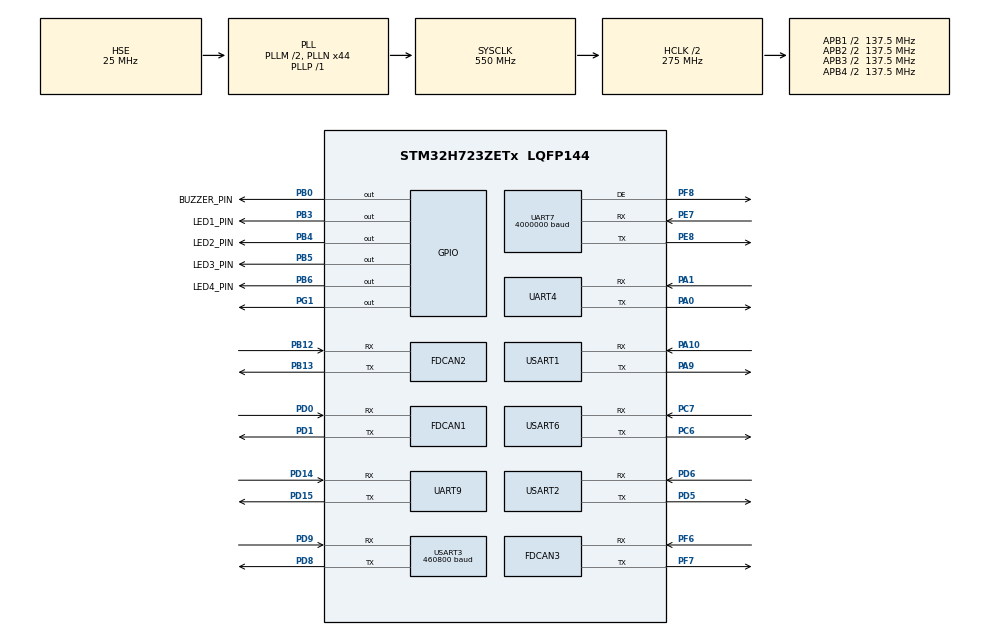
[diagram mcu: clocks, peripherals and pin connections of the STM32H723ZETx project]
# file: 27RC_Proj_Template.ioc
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CORTEX_M7.AccessPermission_S-Cortex_Memory_Protection_Unit_Region1_Settings_S=MPU_REGION_FULL_ACCESS
CORTEX_M7.AccessPermission_S-Cortex_Memory_Protection_Unit_Region2_Settings_S=MPU_REGION_FULL_ACCESS
CORTEX_M7.AccessPermission_Spec=MPU_REGION_FULL_ACCESS
CORTEX_M7.BaseAddress_S-Cortex_Memory_Protection_Unit_Region1_Settings_S=0x08000000
CORTEX_M7.BaseAddress_S-Cortex_Memory_Protection_Unit_Region2_Settings_S=0x30000000
CORTEX_M7.BaseAddress_Spec=0x24000000
CORTEX_M7.CPU_DCache=Enabled
CORTEX_M7.CPU_ICache=Enabled
CORTEX_M7.DisableExec_Spec=MPU_INSTRUCTION_ACCESS_ENABLE
CORTEX_M7.Enable_S-Cortex_Memory_Protection_Unit_Region1_Settings_S=MPU_REGION_ENABLE
CORTEX_M7.Enable_S-Cortex_Memory_Protection_Unit_Region2_Settings_S=MPU_REGION_ENABLE
CORTEX_M7.IsBufferable_Spec=MPU_ACCESS_BUFFERABLE
CORTEX_M7.IsCacheable_S-Cortex_Memory_Protection_Unit_Region1_Settings_S=MPU_ACCESS_CACHEABLE
CORTEX_M7.IsCacheable_S-Cortex_Memory_Protection_Unit_Region2_Settings_S=MPU_ACCESS_CACHEABLE
CORTEX_M7.IsCacheable_Spec=MPU_ACCESS_CACHEABLE
CORTEX_M7.IsShareable_Spec=MPU_ACCESS_NOT_SHAREABLE
CORTEX_M7.Size_S-Cortex_Memory_Protection_Unit_Region1_Settings_S=MPU_REGION_SIZE_512KB
CORTEX_M7.Size_S-Cortex_Memory_Protection_Unit_Region2_Settings_S=MPU_REGION_SIZE_512MB
CORTEX_M7.Size_Spec=MPU_REGION_SIZE_128KB
CORTEX_M7.SubRegionDisable_S-Cortex_Memory_Protection_Unit_Region2_Settings_S=0xFA
CORTEX_M7.SubRegionDisable_Spec=0
CORTEX_M7.TypeExtField_Spec=MPU_TEX_LEVEL1
CORTEX_M7.default_mode_Activation=1
Dma.Request0=UART4_RX
Dma.Request1=UART4_TX
Dma.Request10=USART6_RX
Dma.Request11=USART6_TX
Dma.Request2=UART7_RX
Dma.Request3=UART7_TX
Dma.Request4=UART9_RX
Dma.Request5=UART9_TX
Dma.Request6=USART1_RX
Dma.Request7=USART1_TX
Dma.Request8=USART3_RX
Dma.Request9=USART3_TX
Dma.UART4_RX.0.Direction=DMA_PERIPH_TO_MEMORY
Dma.UART4_RX.0.EventEnable=DISABLE
Dma.UART4_RX.0.FIFOMode=DMA_FIFOMODE_DISABLE
Dma.UART4_RX.0.Instance=DMA1_Stream0
Dma.UART4_RX.0.MemDataAlignment=DMA_MDATAALIGN_BYTE
Dma.UART4_RX.0.MemInc=DMA_MINC_ENABLE
Dma.UART4_RX.0.Mode=DMA_NORMAL
Dma.UART4_RX.0.PeriphDataAlignment=DMA_PDATAALIGN_BYTE
Dma.UART4_RX.0.PeriphInc=DMA_PINC_DISABLE
Dma.UART4_RX.0.Polarity=HAL_DMAMUX_REQ_GEN_RISING
Dma.UART4_RX.0.Priority=DMA_PRIORITY_LOW
Dma.UART4_RX.0.RequestNumber=1
Dma.UART4_RX.0.SignalID=NONE
Dma.UART4_RX.0.SyncEnable=DISABLE
Dma.UART4_RX.0.SyncPolarity=HAL_DMAMUX_SYNC_NO_EVENT
Dma.UART4_RX.0.SyncRequestNumber=1
Dma.UART4_RX.0.SyncSignalID=NONE
Dma.UART4_TX.1.Direction=DMA_MEMORY_TO_PERIPH
Dma.UART4_TX.1.EventEnable=DISABLE
Dma.UART4_TX.1.FIFOMode=DMA_FIFOMODE_DISABLE
Dma.UART4_TX.1.Instance=DMA1_Stream1
Dma.UART4_TX.1.MemDataAlignment=DMA_MDATAALIGN_BYTE
Dma.UART4_TX.1.MemInc=DMA_MINC_ENABLE
Dma.UART4_TX.1.Mode=DMA_NORMAL
Dma.UART4_TX.1.PeriphDataAlignment=DMA_PDATAALIGN_BYTE
Dma.UART4_TX.1.PeriphInc=DMA_PINC_DISABLE
Dma.UART4_TX.1.Polarity=HAL_DMAMUX_REQ_GEN_RISING
Dma.UART4_TX.1.Priority=DMA_PRIORITY_LOW
Dma.UART4_TX.1.RequestNumber=1
Dma.UART4_TX.1.SignalID=NONE
Dma.UART4_TX.1.SyncEnable=DISABLE
Dma.UART4_TX.1.SyncPolarity=HAL_DMAMUX_SYNC_NO_EVENT
Dma.UART4_TX.1.SyncRequestNumber=1
Dma.UART4_TX.1.SyncSignalID=NONE
Dma.UART7_RX.2.Direction=DMA_PERIPH_TO_MEMORY
Dma.UART7_RX.2.EventEnable=DISABLE
Dma.UART7_RX.2.FIFOMode=DMA_FIFOMODE_ENABLE
Dma.UART7_RX.2.FIFOThreshold=DMA_FIFO_THRESHOLD_FULL
Dma.UART7_RX.2.Instance=DMA1_Stream2
Dma.UART7_RX.2.MemBurst=DMA_MBURST_SINGLE
Dma.UART7_RX.2.MemDataAlignment=DMA_MDATAALIGN_BYTE
Dma.UART7_RX.2.MemInc=DMA_MINC_ENABLE
Dma.UART7_RX.2.Mode=DMA_CIRCULAR
Dma.UART7_RX.2.PeriphBurst=DMA_PBURST_SINGLE
Dma.UART7_RX.2.PeriphDataAlignment=DMA_PDATAALIGN_BYTE
Dma.UART7_RX.2.PeriphInc=DMA_PINC_DISABLE
Dma.UART7_RX.2.Polarity=HAL_DMAMUX_REQ_GEN_RISING
Dma.UART7_RX.2.Priority=DMA_PRIORITY_VERY_HIGH
Dma.UART7_RX.2.RequestNumber=1
Dma.UART7_RX.2.SignalID=NONE
Dma.UART7_RX.2.SyncEnable=DISABLE
Dma.UART7_RX.2.SyncPolarity=HAL_DMAMUX_SYNC_NO_EVENT
Dma.UART7_RX.2.SyncRequestNumber=1
Dma.UART7_RX.2.SyncSignalID=NONE
Dma.UART7_TX.3.Direction=DMA_MEMORY_TO_PERIPH
Dma.UART7_TX.3.EventEnable=DISABLE
Dma.UART7_TX.3.FIFOMode=DMA_FIFOMODE_ENABLE
Dma.UART7_TX.3.FIFOThreshold=DMA_FIFO_THRESHOLD_FULL
Dma.UART7_TX.3.Instance=DMA1_Stream3
Dma.UART7_TX.3.MemBurst=DMA_MBURST_SINGLE
Dma.UART7_TX.3.MemDataAlignment=DMA_MDATAALIGN_BYTE
Dma.UART7_TX.3.MemInc=DMA_MINC_ENABLE
Dma.UART7_TX.3.Mode=DMA_NORMAL
Dma.UART7_TX.3.PeriphBurst=DMA_PBURST_SINGLE
Dma.UART7_TX.3.PeriphDataAlignment=DMA_PDATAALIGN_BYTE
Dma.UART7_TX.3.PeriphInc=DMA_PINC_DISABLE
Dma.UART7_TX.3.Polarity=HAL_DMAMUX_REQ_GEN_RISING
Dma.UART7_TX.3.Priority=DMA_PRIORITY_VERY_HIGH
Dma.UART7_TX.3.RequestNumber=1
Dma.UART7_TX.3.SignalID=NONE
Dma.UART7_TX.3.SyncEnable=DISABLE
Dma.UART7_TX.3.SyncPolarity=HAL_DMAMUX_SYNC_NO_EVENT
Dma.UART7_TX.3.SyncRequestNumber=1
Dma.UART7_TX.3.SyncSignalID=NONE
Dma.UART9_RX.4.Direction=DMA_PERIPH_TO_MEMORY
Dma.UART9_RX.4.EventEnable=DISABLE
Dma.UART9_RX.4.FIFOMode=DMA_FIFOMODE_DISABLE
Dma.UART9_RX.4.Instance=DMA1_Stream4
Dma.UART9_RX.4.MemDataAlignment=DMA_MDATAALIGN_BYTE
Dma.UART9_RX.4.MemInc=DMA_MINC_ENABLE
Dma.UART9_RX.4.Mode=DMA_NORMAL
Dma.UART9_RX.4.PeriphDataAlignment=DMA_PDATAALIGN_BYTE
Dma.UART9_RX.4.PeriphInc=DMA_PINC_DISABLE
Dma.UART9_RX.4.Polarity=HAL_DMAMUX_REQ_GEN_RISING
Dma.UART9_RX.4.Priority=DMA_PRIORITY_LOW
Dma.UART9_RX.4.RequestNumber=1
Dma.UART9_RX.4.SignalID=NONE
Dma.UART9_RX.4.SyncEnable=DISABLE
Dma.UART9_RX.4.SyncPolarity=HAL_DMAMUX_SYNC_NO_EVENT
Dma.UART9_RX.4.SyncRequestNumber=1
Dma.UART9_RX.4.SyncSignalID=NONE
Dma.UART9_TX.5.Direction=DMA_MEMORY_TO_PERIPH
Dma.UART9_TX.5.EventEnable=DISABLE
Dma.UART9_TX.5.FIFOMode=DMA_FIFOMODE_DISABLE
Dma.UART9_TX.5.Instance=DMA1_Stream5
Dma.UART9_TX.5.MemDataAlignment=DMA_MDATAALIGN_BYTE
Dma.UART9_TX.5.MemInc=DMA_MINC_ENABLE
Dma.UART9_TX.5.Mode=DMA_NORMAL
Dma.UART9_TX.5.PeriphDataAlignment=DMA_PDATAALIGN_BYTE
Dma.UART9_TX.5.PeriphInc=DMA_PINC_DISABLE
Dma.UART9_TX.5.Polarity=HAL_DMAMUX_REQ_GEN_RISING
Dma.UART9_TX.5.Priority=DMA_PRIORITY_LOW
Dma.UART9_TX.5.RequestNumber=1
Dma.UART9_TX.5.SignalID=NONE
Dma.UART9_TX.5.SyncEnable=DISABLE
Dma.UART9_TX.5.SyncPolarity=HAL_DMAMUX_SYNC_NO_EVENT
Dma.UART9_TX.5.SyncRequestNumber=1
Dma.UART9_TX.5.SyncSignalID=NONE
Dma.USART1_RX.6.Direction=DMA_PERIPH_TO_MEMORY
Dma.USART1_RX.6.EventEnable=DISABLE
Dma.USART1_RX.6.FIFOMode=DMA_FIFOMODE_DISABLE
Dma.USART1_RX.6.Instance=DMA1_Stream6
Dma.USART1_RX.6.MemDataAlignment=DMA_MDATAALIGN_BYTE
Dma.USART1_RX.6.MemInc=DMA_MINC_ENABLE
Dma.USART1_RX.6.Mode=DMA_NORMAL
Dma.USART1_RX.6.PeriphDataAlignment=DMA_PDATAALIGN_BYTE
Dma.USART1_RX.6.PeriphInc=DMA_PINC_DISABLE
Dma.USART1_RX.6.Polarity=HAL_DMAMUX_REQ_GEN_RISING
Dma.USART1_RX.6.Priority=DMA_PRIORITY_LOW
Dma.USART1_RX.6.RequestNumber=1
Dma.USART1_RX.6.SignalID=NONE
Dma.USART1_RX.6.SyncEnable=DISABLE
Dma.USART1_RX.6.SyncPolarity=HAL_DMAMUX_SYNC_NO_EVENT
Dma.USART1_RX.6.SyncRequestNumber=1
Dma.USART1_RX.6.SyncSignalID=NONE
Dma.USART1_TX.7.Direction=DMA_MEMORY_TO_PERIPH
Dma.USART1_TX.7.EventEnable=DISABLE
Dma.USART1_TX.7.FIFOMode=DMA_FIFOMODE_DISABLE
Dma.USART1_TX.7.Instance=DMA1_Stream7
Dma.USART1_TX.7.MemDataAlignment=DMA_MDATAALIGN_BYTE
Dma.USART1_TX.7.MemInc=DMA_MINC_ENABLE
Dma.USART1_TX.7.Mode=DMA_NORMAL
Dma.USART1_TX.7.PeriphDataAlignment=DMA_PDATAALIGN_BYTE
Dma.USART1_TX.7.PeriphInc=DMA_PINC_DISABLE
Dma.USART1_TX.7.Polarity=HAL_DMAMUX_REQ_GEN_RISING
Dma.USART1_TX.7.Priority=DMA_PRIORITY_LOW
Dma.USART1_TX.7.RequestNumber=1
Dma.USART1_TX.7.SignalID=NONE
Dma.USART1_TX.7.SyncEnable=DISABLE
Dma.USART1_TX.7.SyncPolarity=HAL_DMAMUX_SYNC_NO_EVENT
Dma.USART1_TX.7.SyncRequestNumber=1
Dma.USART1_TX.7.SyncSignalID=NONE
Dma.USART3_RX.8.Direction=DMA_PERIPH_TO_MEMORY
Dma.USART3_RX.8.EventEnable=DISABLE
Dma.USART3_RX.8.FIFOMode=DMA_FIFOMODE_DISABLE
Dma.USART3_RX.8.Instance=DMA2_Stream0
Dma.USART3_RX.8.MemDataAlignment=DMA_MDATAALIGN_BYTE
Dma.USART3_RX.8.MemInc=DMA_MINC_ENABLE
Dma.USART3_RX.8.Mode=DMA_NORMAL
Dma.USART3_RX.8.PeriphDataAlignment=DMA_PDATAALIGN_BYTE
Dma.USART3_RX.8.PeriphInc=DMA_PINC_DISABLE
Dma.USART3_RX.8.Polarity=HAL_DMAMUX_REQ_GEN_RISING
Dma.USART3_RX.8.Priority=DMA_PRIORITY_LOW
Dma.USART3_RX.8.RequestNumber=1
Dma.USART3_RX.8.SignalID=NONE
Dma.USART3_RX.8.SyncEnable=DISABLE
Dma.USART3_RX.8.SyncPolarity=HAL_DMAMUX_SYNC_NO_EVENT
Dma.USART3_RX.8.SyncRequestNumber=1
Dma.USART3_RX.8.SyncSignalID=NONE
Dma.USART3_TX.9.Direction=DMA_MEMORY_TO_PERIPH
Dma.USART3_TX.9.EventEnable=DISABLE
Dma.USART3_TX.9.FIFOMode=DMA_FIFOMODE_DISABLE
Dma.USART3_TX.9.Instance=DMA2_Stream1
Dma.USART3_TX.9.MemDataAlignment=DMA_MDATAALIGN_BYTE
Dma.USART3_TX.9.MemInc=DMA_MINC_ENABLE
Dma.USART3_TX.9.Mode=DMA_NORMAL
Dma.USART3_TX.9.PeriphDataAlignment=DMA_PDATAALIGN_BYTE
Dma.USART3_TX.9.PeriphInc=DMA_PINC_DISABLE
Dma.USART3_TX.9.Polarity=HAL_DMAMUX_REQ_GEN_RISING
Dma.USART3_TX.9.Priority=DMA_PRIORITY_LOW
Dma.USART3_TX.9.RequestNumber=1
Dma.USART3_TX.9.SignalID=NONE
Dma.USART3_TX.9.SyncEnable=DISABLE
Dma.USART3_TX.9.SyncPolarity=HAL_DMAMUX_SYNC_NO_EVENT
Dma.USART3_TX.9.SyncRequestNumber=1
Dma.USART3_TX.9.SyncSignalID=NONE
Dma.USART6_RX.10.Direction=DMA_PERIPH_TO_MEMORY
Dma.USART6_RX.10.EventEnable=DISABLE
Dma.USART6_RX.10.FIFOMode=DMA_FIFOMODE_DISABLE
Dma.USART6_RX.10.Instance=DMA2_Stream2
Dma.USART6_RX.10.MemDataAlignment=DMA_MDATAALIGN_BYTE
Dma.USART6_RX.10.MemInc=DMA_MINC_ENABLE
Dma.USART6_RX.10.Mode=DMA_NORMAL
Dma.USART6_RX.10.PeriphDataAlignment=DMA_PDATAALIGN_BYTE
Dma.USART6_RX.10.PeriphInc=DMA_PINC_DISABLE
Dma.USART6_RX.10.Polarity=HAL_DMAMUX_REQ_GEN_RISING
Dma.USART6_RX.10.Priority=DMA_PRIORITY_LOW
Dma.USART6_RX.10.RequestNumber=1
Dma.USART6_RX.10.SignalID=NONE
Dma.USART6_RX.10.SyncEnable=DISABLE
Dma.USART6_RX.10.SyncPolarity=HAL_DMAMUX_SYNC_NO_EVENT
Dma.USART6_RX.10.SyncRequestNumber=1
Dma.USART6_RX.10.SyncSignalID=NONE
Dma.USART6_TX.11.Direction=DMA_MEMORY_TO_PERIPH
Dma.USART6_TX.11.EventEnable=DISABLE
Dma.USART6_TX.11.FIFOMode=DMA_FIFOMODE_DISABLE
Dma.USART6_TX.11.Instance=DMA2_Stream3
Dma.USART6_TX.11.MemDataAlignment=DMA_MDATAALIGN_BYTE
Dma.USART6_TX.11.MemInc=DMA_MINC_ENABLE
Dma.USART6_TX.11.Mode=DMA_NORMAL
Dma.USART6_TX.11.PeriphDataAlignment=DMA_PDATAALIGN_BYTE
Dma.USART6_TX.11.PeriphInc=DMA_PINC_DISABLE
Dma.USART6_TX.11.Polarity=HAL_DMAMUX_REQ_GEN_RISING
Dma.USART6_TX.11.Priority=DMA_PRIORITY_LOW
Dma.USART6_TX.11.RequestNumber=1
Dma.USART6_TX.11.SignalID=NONE
Dma.USART6_TX.11.SyncEnable=DISABLE
Dma.USART6_TX.11.SyncPolarity=HAL_DMAMUX_SYNC_NO_EVENT
Dma.USART6_TX.11.SyncRequestNumber=1
Dma.USART6_TX.11.SyncSignalID=NONE
FDCAN1.AutoRetransmission=DISABLE
FDCAN1.CalculateBaudRateNominal=1000000
FDCAN1.CalculateTimeBitNominal=1000
FDCAN1.CalculateTimeQuantumNominal=25.0
FDCAN1.DataSyncJumpWidth=5
FDCAN1.DataTimeSeg1=29
FDCAN1.DataTimeSeg2=10
FDCAN1.ExtFiltersNbr=16
FDCAN1.NominalPrescaler=1
FDCAN1.NominalSyncJumpWidth=5
FDCAN1.NominalTimeSeg1=29
FDCAN1.NominalTimeSeg2=10
FDCAN1.RxFifo0ElmtsNbr=20
FDCAN1.RxFifo1ElmtsNbr=20
FDCAN1.StdFiltersNbr=16
FDCAN1.TxBuffersNbr=0
FDCAN1.TxFifoQueueElmtsNbr=16
FDCAN2.CalculateBaudRateNominal=1000000
FDCAN2.CalculateTimeBitNominal=1000
FDCAN2.CalculateTimeQuantumNominal=25.0
FDCAN2.DataSyncJumpWidth=5
FDCAN2.DataTimeSeg1=29
FDCAN2.DataTimeSeg2=10
FDCAN2.ExtFiltersNbr=16
FDCAN2.MessageRAMOffset=850
FDCAN2.NominalPrescaler=1
FDCAN2.NominalSyncJumpWidth=5
FDCAN2.NominalTimeSeg1=29
FDCAN2.NominalTimeSeg2=10
FDCAN2.RxFifo0ElmtsNbr=20
FDCAN2.RxFifo1ElmtsNbr=20
FDCAN2.StdFiltersNbr=16
FDCAN2.TxBuffersNbr=0
FDCAN2.TxFifoQueueElmtsNbr=16
FDCAN3.CalculateBaudRateNominal=1000000
FDCAN3.CalculateTimeBitNominal=1000
FDCAN3.CalculateTimeQuantumNominal=25.0
FDCAN3.DataSyncJumpWidth=5
FDCAN3.DataTimeSeg1=29
FDCAN3.DataTimeSeg2=10
FDCAN3.ExtFiltersNbr=16
FDCAN3.MessageRAMOffset=1700
FDCAN3.NominalPrescaler=1
FDCAN3.NominalSyncJumpWidth=5
FDCAN3.NominalTimeSeg1=29
FDCAN3.NominalTimeSeg2=10
FDCAN3.RxFifo0ElmtsNbr=20
FDCAN3.RxFifo1ElmtsNbr=20
FDCAN3.StdFiltersNbr=16
FDCAN3.TxBuffersNbr=0
FDCAN3.TxFifoQueueElmtsNbr=20
FREERTOS.Tasks01=AlarmTask,16,64,Alarm_Task,As weak,NULL,Dynamic,NULL,NULL;VOFASendTask,24,64,VOFA_SendTask,As weak,NULL,Dynamic,NULL,NULL
FREERTOS.configMINIMAL_STACK_SIZE=64
FREERTOS.configTIMER_TASK_STACK_DEPTH=256
Mcu.Family=STM32H7
Mcu.Name=STM32H723ZETx
Mcu.Package=LQFP144
NVIC.DMA1_Stream0_IRQn=true\:5\:0\:false\:false\:true\:true\:false\:true\:true
NVIC.DMA1_Stream1_IRQn=true\:5\:0\:false\:false\:true\:true\:false\:true\:true
NVIC.DMA1_Stream2_IRQn=true\:5\:0\:false\:false\:true\:true\:false\:true\:true
NVIC.DMA1_Stream3_IRQn=true\:5\:0\:false\:false\:true\:true\:false\:true\:true
NVIC.DMA1_Stream4_IRQn=true\:5\:0\:false\:false\:true\:true\:false\:true\:true
NVIC.DMA1_Stream5_IRQn=true\:5\:0\:false\:false\:true\:true\:false\:true\:true
NVIC.DMA1_Stream6_IRQn=true\:5\:0\:false\:false\:true\:true\:false\:true\:true
NVIC.DMA1_Stream7_IRQn=true\:5\:0\:false\:false\:true\:true\:false\:true\:true
NVIC.DMA2_Stream0_IRQn=true\:5\:0\:false\:false\:true\:true\:false\:true\:true
NVIC.DMA2_Stream1_IRQn=true\:5\:0\:false\:false\:true\:true\:false\:true\:true
NVIC.DMA2_Stream2_IRQn=true\:5\:0\:false\:false\:true\:true\:false\:true\:true
NVIC.DMA2_Stream3_IRQn=true\:5\:0\:false\:false\:true\:true\:false\:true\:true
NVIC.FDCAN1_IT0_IRQn=true\:5\:0\:false\:false\:true\:true\:true\:true\:true
NVIC.FDCAN1_IT1_IRQn=true\:5\:0\:false\:false\:true\:true\:true\:true\:true
NVIC.FDCAN2_IT0_IRQn=true\:5\:0\:false\:false\:true\:true\:true\:true\:true
NVIC.FDCAN2_IT1_IRQn=true\:5\:0\:false\:false\:true\:true\:true\:true\:true
NVIC.FDCAN3_IT0_IRQn=true\:5\:0\:false\:false\:true\:true\:true\:true\:true
NVIC.FDCAN3_IT1_IRQn=true\:5\:0\:false\:false\:true\:true\:true\:true\:true
NVIC.PriorityGroup=NVIC_PRIORITYGROUP_4
NVIC.TIM1_UP_IRQn=true\:15\:0\:false\:false\:true\:false\:false\:true\:true
NVIC.TIM2_IRQn=true\:5\:0\:false\:false\:true\:true\:true\:true\:true
NVIC.TIM3_IRQn=true\:5\:0\:false\:false\:true\:true\:true\:true\:true
NVIC.TIM4_IRQn=true\:5\:0\:false\:false\:true\:true\:true\:true\:true
NVIC.TimeBase=TIM1_UP_IRQn
NVIC.TimeBaseIP=TIM1
NVIC.UART4_IRQn=true\:5\:0\:false\:false\:true\:true\:true\:true\:true
NVIC.UART7_IRQn=true\:5\:0\:false\:false\:true\:true\:true\:true\:true
NVIC.UART9_IRQn=true\:5\:0\:false\:false\:true\:true\:true\:true\:true
NVIC.USART1_IRQn=true\:5\:0\:false\:false\:true\:true\:true\:true\:true
NVIC.USART2_IRQn=true\:5\:0\:false\:false\:true\:true\:true\:true\:true
NVIC.USART3_IRQn=true\:5\:0\:false\:false\:true\:true\:true\:true\:true
NVIC.USART6_IRQn=true\:5\:0\:false\:false\:true\:true\:true\:true\:true
PA0.Mode=Asynchronous
PA0.Signal=UART4_TX
PA1.Mode=Asynchronous
PA1.Signal=UART4_RX
PA10.Mode=Asynchronous
PA10.Signal=USART1_RX
PA13(JTMS/SWDIO).Mode=Serial_Wire
PA13(JTMS/SWDIO).Signal=DEBUG_JTMS-SWDIO
PA14(JTCK/SWCLK).Mode=Serial_Wire
PA14(JTCK/SWCLK).Signal=DEBUG_JTCK-SWCLK
PA9.Mode=Asynchronous
PA9.Signal=USART1_TX
PB0.GPIO_Label=BUZZER_PIN
PB0.Signal=GPIO_Output
PB12.GPIO_PuPd=GPIO_NOPULL
PB12.Mode=FDCAN_Activate
PB12.Signal=FDCAN2_RX
PB13.GPIO_PuPd=GPIO_NOPULL
PB13.Mode=FDCAN_Activate
PB13.Signal=FDCAN2_TX
PB3(JTDO/TRACESWO).GPIO_Label=LED1_PIN
PB3(JTDO/TRACESWO).Signal=GPIO_Output
PB4(NJTRST).GPIO_Label=LED2_PIN
PB4(NJTRST).Signal=GPIO_Output
PB5.GPIO_Label=LED3_PIN
PB5.Signal=GPIO_Output
PB6.GPIO_Label=LED4_PIN
PB6.Signal=GPIO_Output
PC6.Mode=Asynchronous
PC6.Signal=USART6_TX
PC7.Mode=Asynchronous
PC7.Signal=USART6_RX
PD0.GPIO_PuPd=GPIO_NOPULL
PD0.Mode=FDCAN_Activate
PD0.Signal=FDCAN1_RX
PD1.GPIO_PuPd=GPIO_NOPULL
PD1.Mode=FDCAN_Activate
PD1.Signal=FDCAN1_TX
PD14.Mode=Asynchronous
PD14.Signal=UART9_RX
PD15.Mode=Asynchronous
PD15.Signal=UART9_TX
PD5.Mode=Asynchronous
PD5.Signal=USART2_TX
PD6.Mode=Asynchronous
PD6.Signal=USART2_RX
PD8.Mode=Asynchronous
PD8.Signal=USART3_TX
PD9.Mode=Asynchronous
PD9.Signal=USART3_RX
PE7.GPIO_Speed=GPIO_SPEED_FREQ_VERY_HIGH
PE7.Mode=Asynchronous
PE7.Signal=UART7_RX
PE8.GPIO_Speed=GPIO_SPEED_FREQ_VERY_HIGH
PE8.Mode=Asynchronous
PE8.Signal=UART7_TX
PF6.GPIO_PuPd=GPIO_NOPULL
PF6.Mode=FDCAN_Activate
PF6.Signal=FDCAN3_RX
PF7.GPIO_PuPd=GPIO_NOPULL
PF7.Mode=FDCAN_Activate
PF7.Signal=FDCAN3_TX
PF8.Mode=Hardware Flow Control (RS485)
PF8.Signal=UART7_DE
PG1.Signal=GPIO_Output
PH0-OSC_IN.Mode=HSE-External-Oscillator
PH0-OSC_IN.Signal=RCC_OSC_IN
PH1-OSC_OUT.Mode=HSE-External-Oscillator
PH1-OSC_OUT.Signal=RCC_OSC_OUT
ProjectManager.HeapSize=0x200
ProjectManager.StackSize=0x400
ProjectManager.TargetToolchain=MDK-ARM V5.32
RCC.ADCFreq_Value=100000000
RCC.APB1Freq_Value=137500000
RCC.APB2Freq_Value=137500000
RCC.APB3Freq_Value=137500000
RCC.APB4Freq_Value=137500000
RCC.CortexFreq_Value=550000000
RCC.D1PPRE=RCC_APB3_DIV2
RCC.D2PPRE1=RCC_APB1_DIV2
RCC.D2PPRE2=RCC_APB2_DIV2
RCC.D3PPRE=RCC_APB4_DIV2
RCC.DIVM1=2
RCC.DIVM2=2
RCC.DIVM3=2
RCC.DIVN1=44
RCC.DIVN2=16
RCC.DIVN3=16
RCC.DIVP1=1
RCC.DIVQ1=4
RCC.DIVQ2=5
RCC.FDCANCLockSelection=RCC_FDCANCLKSOURCE_PLL2
RCC.HCLKFreq_Value=275000000
RCC.HPRE=RCC_HCLK_DIV2
RCC.PLL2FRACN=0
RCC.PLL3FRACN=0
RCC.PLLFRACN=0
RCC.PLLSourceVirtual=RCC_PLLSOURCE_HSE
RCC.SYSCLKFreq_VALUE=550000000
RCC.SYSCLKSource=RCC_SYSCLKSOURCE_PLLCLK
RCC.USBFreq_Value=137500000
STMicroelectronics.X-CUBE-ALGOBUILD.1.5.0.LibraryCcDSPOoLibraryJjDSPOoLibrary=true
TIM2.Period=999
TIM2.Prescaler=274
TIM3.Prescaler=274
TIM4.Period=999
TIM4.Prescaler=274
TIM5.Period=999
TIM5.Prescaler=274
UART7.BaudRate=4000000
USART1.VirtualMode-Asynchronous=VM_ASYNC
USART2.VirtualMode-Asynchronous=VM_ASYNC
USART3.BaudRate=460800
USART3.VirtualMode-Asynchronous=VM_ASYNC
USART6.VirtualMode-Asynchronous=VM_ASYNC
VP_FREERTOS_VS_CMSIS_V2.Mode=CMSIS_V2
VP_MEMORYMAP_VS_MEMORYMAP.Mode=CurAppReg
VP_STMicroelectronics.X-CUBE-ALGOBUILD_VS_DSPOoLibraryJjLibrary_1.5.0_1.5.0.Mode=DSPOoLibraryJjLibrary
VP_SYS_VS_tim1.Mode=TIM1
VP_TIM2_VS_ClockSourceINT.Mode=Internal
VP_TIM3_VS_ClockSourceINT.Mode=Internal
VP_TIM4_VS_ClockSourceINT.Mode=Internal
VP_TIM5_VS_ClockSourceINT.Mode=Internal
board=custom

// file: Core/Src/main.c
/* USER CODE BEGIN Header */
/**
  ******************************************************************************
  * @file           : main.c
  * @brief          : Main program body
  ******************************************************************************
  * @attention
  *
  * Copyright (c) 2026 STMicroelectronics.
  * All rights reserved.
  *
  * This software is licensed under terms that can be found in the LICENSE file
  * in the root directory of this software component.
  * If no LICENSE file comes with this software, it is provided AS-IS.
  *
  ******************************************************************************
  */
/* USER CODE END Header */
#include "main.h"
#include "FreeRTOS.h"
#include "cmsis_os2.h"
#include "dma.h"
#include "fdcan.h"
#include "tim.h"
#include "usart.h"
#include "gpio.h"

/* USER CODE BEGIN Includes */
#include "includes.h"
#include "IQRhandler.h"
#include "motor_config.h"
#include "FD_Canqueue.h"
#include "ZDrive.h"
#include "DJmotor.h"
#include "VescMotor.h"
#include "UnitreeMotor.h"
#include "bsp_board.h"
#include "bsp_buzzer.h"
#include "bsp_solenoid.h"
#include "app_config.h"
#include "bluetooth.h"
#include "imu.h"

/* USER CODE END Includes */

void SystemClock_Config(void);
void PeriphCommonClock_Config(void);
static void MPU_Config(void);
void MX_FREERTOS_Init(void);

int main(void)
{

  /* USER CODE BEGIN 1 */
	uint32_t *SourceAddr = (uint32_t *)FLASH_BANK1_BASE;
	uint32_t *DestAddr = (uint32_t *)D1_DTCMRAM_BASE;
	memcpy(DestAddr, SourceAddr, 0x400);
	SCB->VTOR = D1_DTCMRAM_BASE; //向量表重定向
  /* USER CODE END 1 */

  /* MPU Configuration--------------------------------------------------------*/
  MPU_Config();

  /* Enable the CPU Cache */

  /* Enable I-Cache---------------------------------------------------------*/
  SCB_EnableICache();

  /* Enable D-Cache---------------------------------------------------------*/
  SCB_EnableDCache();

  /* MCU Configuration--------------------------------------------------------*/

  /* Reset of all peripherals, Initializes the Flash interface and the Systick. */
  HAL_Init();

  /* Configure the system clock */
  SystemClock_Config();

  /* Configure the peripherals common clocks */
  PeriphCommonClock_Config();

  /* Initialize all configured peripherals */
  MX_GPIO_Init();
  MX_DMA_Init();
  MX_FDCAN1_Init();
  MX_FDCAN2_Init();
  MX_FDCAN3_Init();
  MX_UART4_Init();
  MX_UART7_Init();
  MX_UART9_Init();
  MX_USART1_UART_Init();
  MX_USART2_UART_Init();
  MX_USART3_UART_Init();
  MX_USART6_UART_Init();
  MX_TIM2_Init();
  MX_TIM3_Init();
  MX_TIM4_Init();
  MX_TIM5_Init();
  /* USER CODE BEGIN 2 */
  Bsp_BoardInit();
#if APP_START_BUZZER_ON_BOOT
  BspBuzzer_StartupBeep();
#endif
  CAN_InitSendQueue();
  CAN_Start();
#if USE_DJ
  DJmotor_Init();
#endif
#if USE_VESC
  VescInit();
#endif
#if USE_ZMDR
  ZdriveInit();
#endif
#if USE_UNITREE
  UnitreeMotor_Init();
#endif
  /* 蓝牙模块:建队列、建收发任务(必须在启动串口 DMA 接收之前) */
  Bluetooth_Init();

  /* IMU 模块:建接收任务/队列(必须先于 USART3 DMA 接收启动) */
  Imu_Init();

  /* 各串口空闲 DMA 接收启动(USART2 未配 DMA,需要的话在 CubeMX 里加) */
  // HAL_UARTEx_ReceiveToIdle_DMA(&huart1, UART1_RxBuffer, UART_RX_BUFFER_SIZE);
  SolenoidValve_Init(Solenoid_Bus1);
  HAL_UARTEx_ReceiveToIdle_DMA(&huart3, UART3_RxBuffer, UART_RX_BUFFER_SIZE);
  HAL_UARTEx_ReceiveToIdle_DMA(&huart4, UART4_RxBuffer, UART_RX_BUFFER_SIZE);
  HAL_UARTEx_ReceiveToIdle_DMA(&huart6, UART6_RxBuffer, UART_RX_BUFFER_SIZE);
  HAL_UARTEx_ReceiveToIdle_DMA(&huart9, UART9_RxBuffer, UART_RX_BUFFER_SIZE);
  /* USER CODE END 2 */

  /* Init scheduler */
  osKernelInitialize();  /* Call init function for freertos objects (in cmsis_os2.c) */
  MX_FREERTOS_Init();

  /* Start scheduler */
  osKernelStart();

  /* We should never get here as control is now taken by the scheduler */

  /* Infinite loop */
  while (1)
  {

  }
}

void SystemClock_Config(void)
{
  RCC_OscInitTypeDef RCC_OscInitStruct = {0};
  RCC_ClkInitTypeDef RCC_ClkInitStruct = {0};

  /** Supply configuration update enable
  */
  HAL_PWREx_ConfigSupply(PWR_LDO_SUPPLY);

  /** Configure the main internal regulator output voltage
  */
  __HAL_PWR_VOLTAGESCALING_CONFIG(PWR_REGULATOR_VOLTAGE_SCALE0);

  while(!__HAL_PWR_GET_FLAG(PWR_FLAG_VOSRDY)) {}

  /** Initializes the RCC Oscillators according to the specified parameters
  * in the RCC_OscInitTypeDef structure.
  */
  RCC_OscInitStruct.OscillatorType = RCC_OSCILLATORTYPE_HSE;
  RCC_OscInitStruct.HSEState = RCC_HSE_ON;
  RCC_OscInitStruct.PLL.PLLState = RCC_PLL_ON;
  RCC_OscInitStruct.PLL.PLLSource = RCC_PLLSOURCE_HSE;
  RCC_OscInitStruct.PLL.PLLM = 2;
  RCC_OscInitStruct.PLL.PLLN = 44;
  RCC_OscInitStruct.PLL.PLLP = 1;
  RCC_OscInitStruct.PLL.PLLQ = 4;
  RCC_OscInitStruct.PLL.PLLR = 2;
  RCC_OscInitStruct.PLL.PLLRGE = RCC_PLL1VCIRANGE_3;
  RCC_OscInitStruct.PLL.PLLVCOSEL = RCC_PLL1VCOWIDE;
  RCC_OscInitStruct.PLL.PLLFRACN = 0;
  if (HAL_RCC_OscConfig(&RCC_OscInitStruct) != HAL_OK)
  {
    Error_Handler();
  }

  /** Initializes the CPU, AHB and APB buses clocks
  */
  RCC_ClkInitStruct.ClockType = RCC_CLOCKTYPE_HCLK|RCC_CLOCKTYPE_SYSCLK
                              |RCC_CLOCKTYPE_PCLK1|RCC_CLOCKTYPE_PCLK2
                              |RCC_CLOCKTYPE_D3PCLK1|RCC_CLOCKTYPE_D1PCLK1;
  RCC_ClkInitStruct.SYSCLKSource = RCC_SYSCLKSOURCE_PLLCLK;
  RCC_ClkInitStruct.SYSCLKDivider = RCC_SYSCLK_DIV1;
  RCC_ClkInitStruct.AHBCLKDivider = RCC_HCLK_DIV2;
  RCC_ClkInitStruct.APB3CLKDivider = RCC_APB3_DIV2;
  RCC_ClkInitStruct.APB1CLKDivider = RCC_APB1_DIV2;
  RCC_ClkInitStruct.APB2CLKDivider = RCC_APB2_DIV2;
  RCC_ClkInitStruct.APB4CLKDivider = RCC_APB4_DIV2;

  if (HAL_RCC_ClockConfig(&RCC_ClkInitStruct, FLASH_LATENCY_3) != HAL_OK)
  {
    Error_Handler();
  }
}

void PeriphCommonClock_Config(void)
{
  RCC_PeriphCLKInitTypeDef PeriphClkInitStruct = {0};

  /** Initializes the peripherals clock
  */
  PeriphClkInitStruct.PeriphClockSelection = RCC_PERIPHCLK_FDCAN;
  PeriphClkInitStruct.PLL2.PLL2M = 2;
  PeriphClkInitStruct.PLL2.PLL2N = 16;
  PeriphClkInitStruct.PLL2.PLL2P = 2;
  PeriphClkInitStruct.PLL2.PLL2Q = 5;
  PeriphClkInitStruct.PLL2.PLL2R = 2;
  PeriphClkInitStruct.PLL2.PLL2RGE = RCC_PLL2VCIRANGE_3;
  PeriphClkInitStruct.PLL2.PLL2VCOSEL = RCC_PLL2VCOWIDE;
  PeriphClkInitStruct.PLL2.PLL2FRACN = 0;
  PeriphClkInitStruct.FdcanClockSelection = RCC_FDCANCLKSOURCE_PLL2;
  if (HAL_RCCEx_PeriphCLKConfig(&PeriphClkInitStruct) != HAL_OK)
  {
    Error_Handler();
  }
}

 /* MPU Configuration */

void MPU_Config(void)
{
  MPU_Region_InitTypeDef MPU_InitStruct = {0};

  /* Disables the MPU */
  HAL_MPU_Disable();

  /** Initializes and configures the Region and the memory to be protected
  */
  MPU_InitStruct.Enable = MPU_REGION_ENABLE;
  MPU_InitStruct.Number = MPU_REGION_NUMBER0;
  MPU_InitStruct.BaseAddress = 0x24000000;
  MPU_InitStruct.Size = MPU_REGION_SIZE_128KB;
  MPU_InitStruct.SubRegionDisable = 0;
  MPU_InitStruct.TypeExtField = MPU_TEX_LEVEL1;
  MPU_InitStruct.AccessPermission = MPU_REGION_FULL_ACCESS;
  MPU_InitStruct.DisableExec = MPU_INSTRUCTION_ACCESS_ENABLE;
  MPU_InitStruct.IsShareable = MPU_ACCESS_NOT_SHAREABLE;
  MPU_InitStruct.IsCacheable = MPU_ACCESS_CACHEABLE;
  MPU_InitStruct.IsBufferable = MPU_ACCESS_BUFFERABLE;

  HAL_MPU_ConfigRegion(&MPU_InitStruct);

  /** Initializes and configures the Region and the memory to be protected
  */
  MPU_InitStruct.Number = MPU_REGION_NUMBER1;
  MPU_InitStruct.BaseAddress = 0x08000000;
  MPU_InitStruct.Size = MPU_REGION_SIZE_512KB;
  MPU_InitStruct.SubRegionDisable = 0x0;
  MPU_InitStruct.TypeExtField = MPU_TEX_LEVEL0;
  MPU_InitStruct.IsBufferable = MPU_ACCESS_NOT_BUFFERABLE;

  HAL_MPU_ConfigRegion(&MPU_InitStruct);

  /** Initializes and configures the Region and the memory to be protected
  */
  MPU_InitStruct.Number = MPU_REGION_NUMBER2;
  MPU_InitStruct.BaseAddress = 0x30000000;
  MPU_InitStruct.Size = MPU_REGION_SIZE_512MB;
  MPU_InitStruct.SubRegionDisable = 0xFA;

  HAL_MPU_ConfigRegion(&MPU_InitStruct);
  /* Enables the MPU */
  HAL_MPU_Enable(MPU_PRIVILEGED_DEFAULT);

}

void HAL_TIM_PeriodElapsedCallback(TIM_HandleTypeDef *htim)
{
  if (htim->Instance == TIM1)
  {
    HAL_IncTick();
  }
  /* USER CODE BEGIN Callback 1 */
  TIM_PeriodElapsedCallback(htim);

  /* USER CODE END Callback 1 */
}

void Error_Handler(void)
{
  __disable_irq();
  while (1)
  {
  }
}

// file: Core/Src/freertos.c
/* USER CODE BEGIN Header */
/**
 ******************************************************************************
 * File Name          : freertos.c
 * Description        : Code for freertos applications
 ******************************************************************************
 * @attention
 *
 * Copyright (c) 2026 STMicroelectronics.
 * All rights reserved.
 *
 * This software is licensed under terms that can be found in the LICENSE file
 * in the root directory of this software component.
 * If no LICENSE file comes with this software, it is provided AS-IS.
 *
 ******************************************************************************
 */
/* USER CODE END Header */

#include "FreeRTOS.h"
#include "task.h"
#include "main.h"
#include "FreeRTOS.h"
#include "cmsis_os2.h"

/* USER CODE BEGIN Variables */
osThreadId_t ChassisTaskHandle;
const osThreadAttr_t ChassisTask_attributes = {
    .name = "ChassisTask",
    .stack_size = 128 * 4,
    .priority = (osPriority_t)osPriorityAboveNormal,
};
/* USER CODE END Variables */
/* Definitions for AlarmTask */
osThreadId_t AlarmTaskHandle;
const osThreadAttr_t AlarmTask_attributes = {
  .name = "AlarmTask",
  .stack_size = 64 * 4,
  .priority = (osPriority_t) osPriorityBelowNormal,
};
/* Definitions for VOFASendTask */
osThreadId_t VOFASendTaskHandle;
const osThreadAttr_t VOFASendTask_attributes = {
  .name = "VOFASendTask",
  .stack_size = 64 * 4,
  .priority = (osPriority_t) osPriorityNormal,
};

/* USER CODE BEGIN FunctionPrototypes */

void Chassis_Task(void *argument);
/* USER CODE END FunctionPrototypes */

void Alarm_Task(void *argument);
void VOFA_SendTask(void *argument);

void MX_FREERTOS_Init(void); /* (MISRA C 2004 rule 8.1) */

void MX_FREERTOS_Init(void) {
  /* USER CODE BEGIN Init */
  /* 任务在 CubeMX 里创建,这里不需要额外初始化 */

  /* USER CODE END Init */

  /* Create the thread(s) */
  /* creation of AlarmTask */
  AlarmTaskHandle = osThreadNew(Alarm_Task, NULL, &AlarmTask_attributes);

  /* creation of VOFASendTask */
  VOFASendTaskHandle = osThreadNew(VOFA_SendTask, NULL, &VOFASendTask_attributes);

  /* USER CODE BEGIN RTOS_THREADS */
  ChassisTaskHandle = osThreadNew(Chassis_Task, NULL, &ChassisTask_attributes);

  /* USER CODE END RTOS_THREADS */

}

__weak void Alarm_Task(void *argument)
{
  for (;;)
  {
    osDelay(1);
  }
}

__weak void VOFA_SendTask(void *argument)
{
  for (;;)
  {
    osDelay(1);
  }
}

/* USER CODE BEGIN Application */
__weak void Chassis_Task(void *argument)
{
  /* USER CODE BEGIN Chassis_Task */
  /* Infinite loop */
  for (;;)
  {
    osDelay(1);
  }
  /* USER CODE END Chassis_Task */
}
/* USER CODE END Application */
